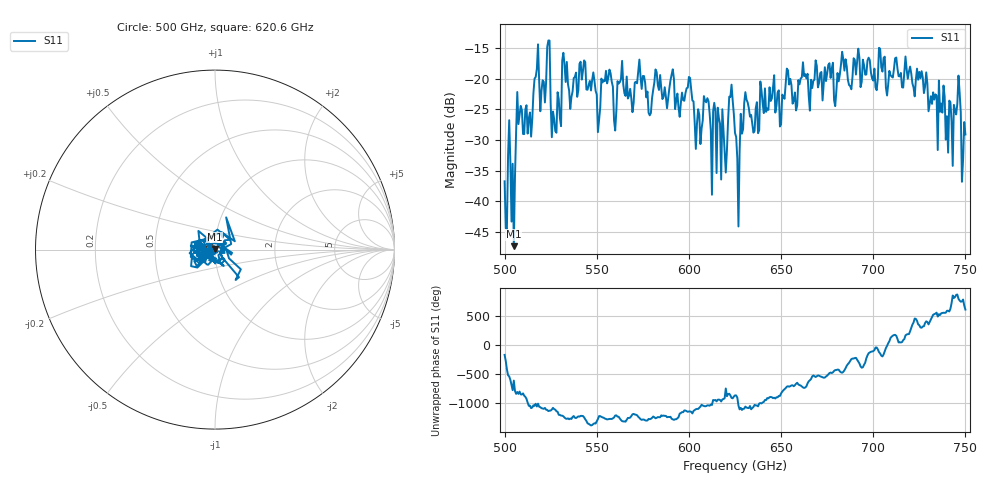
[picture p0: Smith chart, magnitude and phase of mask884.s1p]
!Created with skrf (http://scikit-rf.org).
# GHz S MA R 50.0
!freq magS11 angS11
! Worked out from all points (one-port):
!   401 points, 500 GHz to 750 GHz, reference 50 ohm
!   lowest |S11| = -47.3 dB at 505 GHz (marker M1), VSWR 1.01, Z = 49.9 + j0.41 ohm
!   |S11| at or under -10 dB: start of sweep to end of sweep
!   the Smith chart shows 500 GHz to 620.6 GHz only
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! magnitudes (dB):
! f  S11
! 500 GHz  -36.8
! 503.1 GHz  -33.6
! 505 GHz  -47.3
! 507.5 GHz  -27.4
! 513.8 GHz  -25.5
! 516.9 GHz  -19.7
! 520.6 GHz  -20.3
! 523.8 GHz  -13.8
! 526.9 GHz  -26.6
! 531.2 GHz  -17.1
! 542.5 GHz  -18.8
! 550.6 GHz  -28.7
! 562.5 GHz  -20.6
! 593.8 GHz  -22.5
! 600 GHz  -19.7
! 605 GHz  -25.0
! 609.4 GHz  -23.9
! 618.8 GHz  -28.5
! 623.1 GHz  -21.0
! 625 GHz  -28.9
! 626.2 GHz  -33.0
! 631.2 GHz  -23.5
! 656.2 GHz  -24.1
! 687.5 GHz  -21.2
! 718.8 GHz  -20.0
! 741.9 GHz  -23.9
! 746.2 GHz  -19.5
! 750 GHz  -29.1
